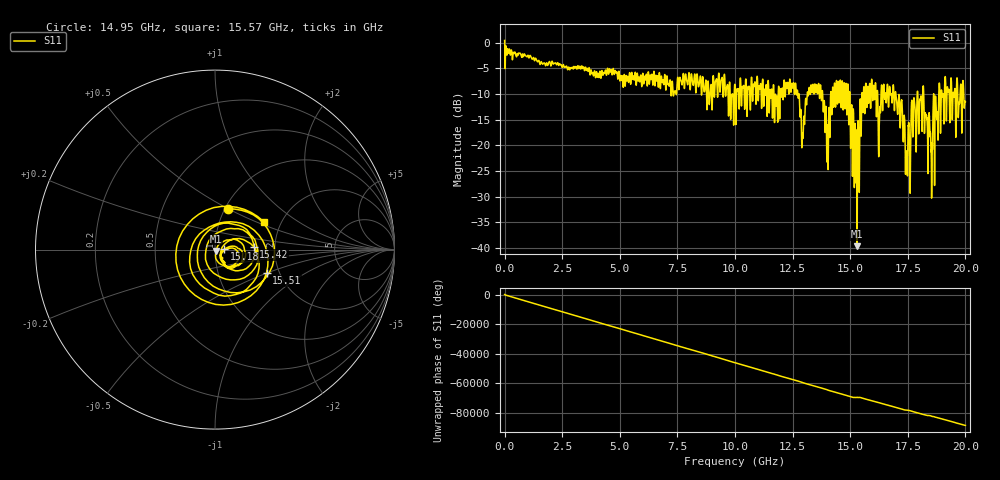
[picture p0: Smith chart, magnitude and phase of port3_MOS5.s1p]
! MS46122B
! 2250307/22442219
! 7/27/2025 9:17:52 AM
! C:\USERS\SPARKY\DOCUMENTS\VNA_DATA\JULY27_2025\3K\PORT3_MOS5.S1P
! CHANNEL.1
! TR.MEASUREMENT
! RAW.DATA
# GHZ S RI R 50.0
! FREQ.GHZ  S11RE  S11IM
!; PortSelection: Port_1
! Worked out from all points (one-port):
!   10001 points, 1 MHz to 20 GHz, reference 50 ohm
!   lowest |S11| = -39.7 dB at 15.3 GHz (marker M1), VSWR 1.02, Z = 50.7 - j0.754 ohm
!   |S11| at or under -10 dB: 14.99 GHz to 15.51 GHz (522.2 MHz wide, 3.43 % of centre); 16.98 GHz to 17.91 GHz (928.7 MHz wide, 5.32 % of centre); 18.19 GHz to 18.62 GHz (430.6 MHz wide, 2.34 % of centre) (the widest 3 of 88)
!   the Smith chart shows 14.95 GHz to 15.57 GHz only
!   S11 on the Smith chart (normalised r, x): 14.95 GHz: 1.03, +0.50; 15.18 GHz: 1.11, +0.01; 15.42 GHz: 1.55, +0.05; 15.51 GHz: 1.72, -0.49; 15.57 GHz: 1.62, +0.56
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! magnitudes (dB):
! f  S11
! 1 MHz  0.4
! 2.501 GHz  -4.9
! 5.001 GHz  -7.4
! 7.501 GHz  -7.2
! 10 GHz  -8.3
! 12.5 GHz  -8.9
! 12.93 GHz  -17.8
! 13.3 GHz  -8.2
! 13.71 GHz  -8.2
! 14.03 GHz  -18.4
! 14.32 GHz  -7.9
! 14.95 GHz  -12.5
! 15 GHz  -13.1
! 15.18 GHz  -25.8
! 15.3 GHz  -39.7
! 15.42 GHz  -13.3
! 15.51 GHz  -10.0
! 15.57 GHz  -10.1
! 16.01 GHz  -8.3
! 16.23 GHz  -20.5
! 16.79 GHz  -10.4
! 17.18 GHz  -16.0
! 17.5 GHz  -20.9
! 17.73 GHz  -15.3
! 18.1 GHz  -13.0
! 18.47 GHz  -17.6
! 19.05 GHz  -11.9
! 20 GHz  -11.5
